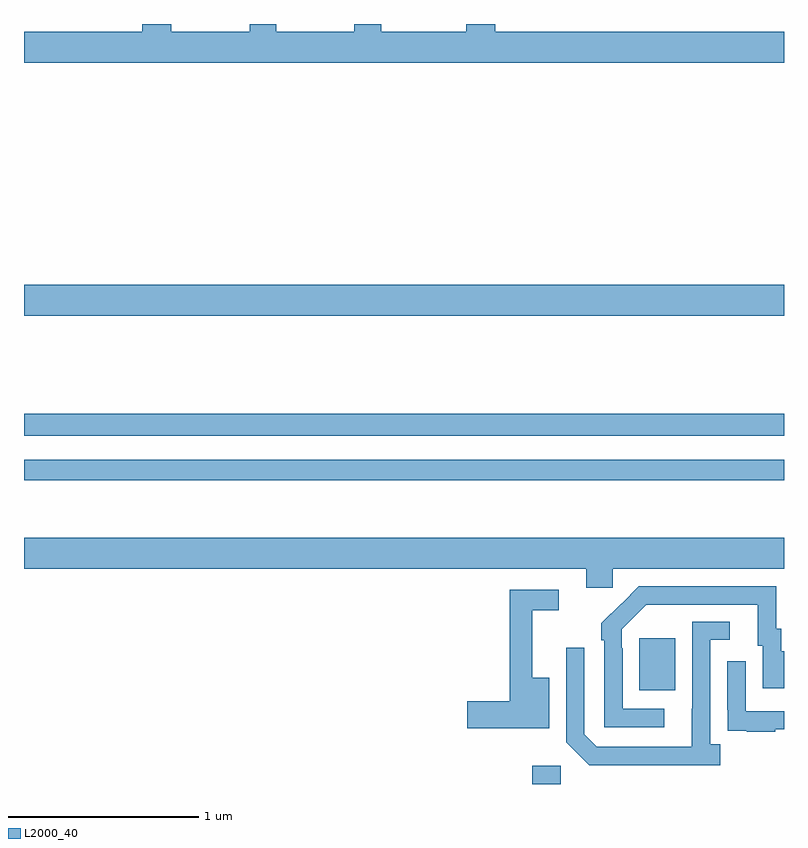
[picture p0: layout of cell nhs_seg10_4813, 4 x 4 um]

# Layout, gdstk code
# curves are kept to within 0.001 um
import gdstk
lib = gdstk.Library(unit=1e-6, precision=1e-09)
def R(c, l, rs):  # rectangles x0, y0, x1, y1
    for r in rs: c.add(gdstk.rectangle(r[:2], r[2:], *l))
def P(c, l, *ps):  # polygons
    for p in ps: c.add(gdstk.Polygon(p, *l))
L2000_40 = (2000, 40)

nhs_seg10_4813 = lib.new_cell('nhs_seg10_4813')
R(nhs_seg10_4813, L2000_40, [(389.675,1316.5,389.826,1316.596), (390.239,1316.993,390.427,1317.268), (387,1318.098,391,1318.206), (387,1318.332,391,1318.448), (387,1318.964,391,1319.128)])
P(nhs_seg10_4813, L2000_40, [(391,1320.46),(389.48,1320.46),(389.48,1320.5),(389.327,1320.5),(389.327,1320.46),(388.879,1320.46),(388.879,1320.5),(388.739,1320.5),(388.739,1320.46),(388.327,1320.46),(388.327,1320.5),(388.187,1320.5),(388.187,1320.46),(387.775,1320.46),(387.775,1320.5),(387.623,1320.5),(387.623,1320.46),(387,1320.46),(387,1320.296),(391,1320.296)],
  [(390.099,1317.632),(391,1317.632),(391,1317.796),(387,1317.796),(387,1317.632),(389.96,1317.632),(389.96,1317.534),(390.099,1317.534)],
  [(390.37,1316.895),(390.15,1316.895),(390.15,1317.215),(390.147,1317.215),(390.147,1317.315),(390.276,1317.444),(390.863,1317.444),(390.863,1317.228),(390.887,1317.228),(390.887,1317.003),(391,1317.003),(391,1317.199),(390.985,1317.199),(390.985,1317.318),(390.96,1317.318),(390.96,1317.54),(390.236,1317.54),(390.039,1317.345),(390.039,1317.257),(390.054,1317.257),(390.054,1316.799),(390.37,1316.799)],
  [(389.764,1317.058),(389.675,1317.058),(389.675,1317.414),(389.815,1317.414),(389.815,1317.522),(389.557,1317.522),(389.557,1316.936),(389.334,1316.936),(389.334,1316.794),(389.764,1316.794)],
  [(390.664,1316.71),(390.612,1316.71),(390.612,1317.258),(390.715,1317.258),(390.715,1317.354),(390.516,1317.354),(390.515,1316.697),(390.015,1316.697),(389.949,1316.763),(389.949,1317.217),(389.853,1317.217),(389.853,1316.721),(389.974,1316.6),(390.664,1316.6)],
  [(390.953,1316.787),(391,1316.787),(391,1316.883),(390.798,1316.883),(390.798,1317.145),(390.702,1317.145),(390.702,1316.89),(390.703,1316.89),(390.703,1316.781),(390.805,1316.781),(390.805,1316.775),(390.953,1316.775)])

lib.write_gds('nhs_seg10_4813.gds')
